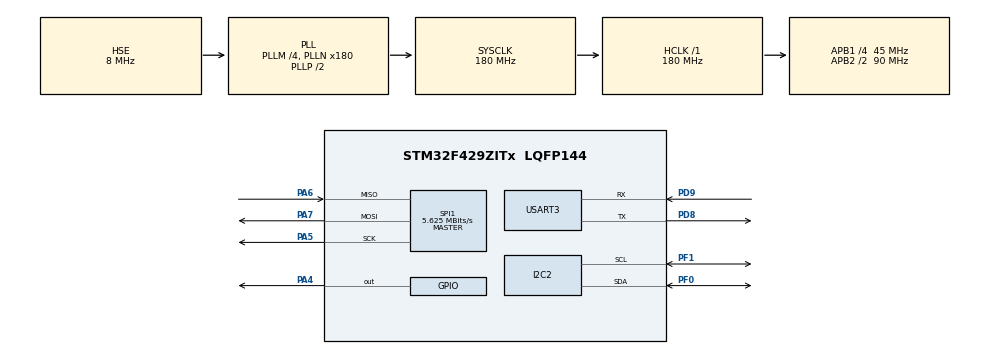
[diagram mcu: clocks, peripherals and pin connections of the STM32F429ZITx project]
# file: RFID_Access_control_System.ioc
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Mcu.Family=STM32F4
Mcu.Name=STM32F429ZITx
Mcu.Package=LQFP144
NVIC.PriorityGroup=NVIC_PRIORITYGROUP_4
NVIC.USART3_IRQn=true\:0\:0\:false\:false\:true\:true
PA13.Mode=Serial_Wire
PA13.Signal=SYS_JTMS-SWDIO
PA14.Mode=Serial_Wire
PA14.Signal=SYS_JTCK-SWCLK
PA4.GPIO_PuPd=GPIO_PULLUP
PA4.GPIO_Speed=GPIO_SPEED_FREQ_VERY_HIGH
PA4.Signal=GPIO_Output
PA5.Mode=Full_Duplex_Master
PA5.Signal=SPI1_SCK
PA6.Mode=Full_Duplex_Master
PA6.Signal=SPI1_MISO
PA7.Mode=Full_Duplex_Master
PA7.Signal=SPI1_MOSI
PD8.Mode=Asynchronous
PD8.Signal=USART3_TX
PD9.Mode=Asynchronous
PD9.Signal=USART3_RX
PF0.Mode=I2C
PF0.Signal=I2C2_SDA
PF1.Mode=I2C
PF1.Signal=I2C2_SCL
PH0/OSC_IN.Mode=HSE-External-Oscillator
PH0/OSC_IN.Signal=RCC_OSC_IN
PH1/OSC_OUT.Mode=HSE-External-Oscillator
PH1/OSC_OUT.Signal=RCC_OSC_OUT
ProjectManager.HeapSize=0x200
ProjectManager.StackSize=0x400
ProjectManager.TargetToolchain=TrueSTUDIO
RCC.48MHZClocksFreq_Value=90000000
RCC.AHBFreq_Value=180000000
RCC.APB1CLKDivider=RCC_HCLK_DIV4
RCC.APB1Freq_Value=45000000
RCC.APB1TimFreq_Value=90000000
RCC.APB2CLKDivider=RCC_HCLK_DIV2
RCC.APB2Freq_Value=90000000
RCC.APB2TimFreq_Value=180000000
RCC.CortexFreq_Value=180000000
RCC.HCLKFreq_Value=180000000
RCC.HSE_VALUE=8000000
RCC.HSI_VALUE=16000000
RCC.LSE_VALUE=32768
RCC.PLLM=4
RCC.PLLN=180
RCC.PLLSourceVirtual=RCC_PLLSOURCE_HSE
RCC.SYSCLKFreq_VALUE=180000000
RCC.SYSCLKSource=RCC_SYSCLKSOURCE_PLLCLK
RCC.VCOOutputFreq_Value=360000000
SPI1.BaudRatePrescaler=SPI_BAUDRATEPRESCALER_16
SPI1.CalculateBaudRate=5.625 MBits/s
SPI1.Direction=SPI_DIRECTION_2LINES
SPI1.Mode=SPI_MODE_MASTER
SPI1.VirtualType=VM_MASTER
USART3.VirtualMode=VM_ASYNC
board=custom

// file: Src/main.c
/**
  ******************************************************************************
  * @file           : main.c
  * @brief          : Main program body
  ******************************************************************************
  ** This notice applies to any and all portions of this file
  * that are not between comment pairs USER CODE BEGIN and
  * USER CODE END. Other portions of this file, whether
  * inserted by the user or by software development tools
  * are owned by their respective copyright owners.
  *
  * COPYRIGHT(c) 2019 STMicroelectronics
  *
  * Redistribution and use in source and binary forms, with or without modification,
  * are permitted provided that the following conditions are met:
  *   1. Redistributions of source code must retain the above copyright notice,
  *      this list of conditions and the following disclaimer.
  *   2. Redistributions in binary form must reproduce the above copyright notice,
  *      this list of conditions and the following disclaimer in the documentation
  *      and/or other materials provided with the distribution.
  *   3. Neither the name of STMicroelectronics nor the names of its contributors
  *      may be used to endorse or promote products derived from this software
  *      without specific prior written permission.
  *
  * THIS SOFTWARE IS PROVIDED BY THE COPYRIGHT HOLDERS AND CONTRIBUTORS "AS IS"
  * AND ANY EXPRESS OR IMPLIED WARRANTIES, INCLUDING, BUT NOT LIMITED TO, THE
  * IMPLIED WARRANTIES OF MERCHANTABILITY AND FITNESS FOR A PARTICULAR PURPOSE ARE
  * DISCLAIMED. IN NO EVENT SHALL THE COPYRIGHT HOLDER OR CONTRIBUTORS BE LIABLE
  * FOR ANY DIRECT, INDIRECT, INCIDENTAL, SPECIAL, EXEMPLARY, OR CONSEQUENTIAL
  * DAMAGES (INCLUDING, BUT NOT LIMITED TO, PROCUREMENT OF SUBSTITUTE GOODS OR
  * SERVICES; LOSS OF USE, DATA, OR PROFITS; OR BUSINESS INTERRUPTION) HOWEVER
  * CAUSED AND ON ANY THEORY OF LIABILITY, WHETHER IN CONTRACT, STRICT LIABILITY,
  * OR TORT (INCLUDING NEGLIGENCE OR OTHERWISE) ARISING IN ANY WAY OUT OF THE USE
  * OF THIS SOFTWARE, EVEN IF ADVISED OF THE POSSIBILITY OF SUCH DAMAGE.
  *
  ******************************************************************************
  */
#include "main.h"
#include "stm32f4xx_hal.h"

/* USER CODE BEGIN Includes */
#include <stdio.h>
#include "rc522.h"
#include "I2C_LCD.h"
/* USER CODE END Includes */

I2C_HandleTypeDef hi2c2;

SPI_HandleTypeDef hspi1;

UART_HandleTypeDef huart3;

/* USER CODE BEGIN PV */
/* Private variables ---------------------------------------------------------*/
unsigned char card_id[5];
unsigned char card_id_buf[20];
unsigned char card_id_prev[20];
/* USER CODE END PV */

void SystemClock_Config(void);
static void MX_GPIO_Init(void);
static void MX_USART3_UART_Init(void);
static void MX_SPI1_Init(void);
static void MX_I2C2_Init(void);

/* USER CODE BEGIN PFP */
/* Private function prototypes -----------------------------------------------*/
uint8_t MFRC522_Check(uint8_t* id);
uint8_t MFRC522_Compare(uint8_t* CardID, uint8_t* CompareID);
void MFRC522_WriteRegister(uint8_t addr, uint8_t val);
uint8_t MFRC522_ReadRegister(uint8_t addr);
void MFRC522_SetBitMask(uint8_t reg, uint8_t mask);
void MFRC522_ClearBitMask(uint8_t reg, uint8_t mask);
uint8_t MFRC522_Request(uint8_t reqMode, uint8_t* TagType);
uint8_t MFRC522_ToCard(uint8_t command, uint8_t* sendData, uint8_t sendLen, uint8_t* backData, uint16_t* backLen);
uint8_t MFRC522_Anticoll(uint8_t* serNum);
void MFRC522_CalulateCRC(uint8_t* pIndata, uint8_t len, uint8_t* pOutData);
uint8_t MFRC522_SelectTag(uint8_t* serNum);
uint8_t MFRC522_Auth(uint8_t authMode, uint8_t BlockAddr, uint8_t* Sectorkey, uint8_t* serNum);
uint8_t MFRC522_Read(uint8_t blockAddr, uint8_t* recvData);
uint8_t MFRC522_Write(uint8_t blockAddr, uint8_t* writeData);
void MFRC522_Init(void);
void MFRC522_Reset(void);
void MFRC522_AntennaOn(void);
void MFRC522_AntennaOff(void);
void MFRC522_Halt(void);
/* USER CODE END PFP */

int main(void)
{

  /* MCU Configuration----------------------------------------------------------*/

  /* Reset of all peripherals, Initializes the Flash interface and the Systick. */
  HAL_Init();

  /* Configure the system clock */
  SystemClock_Config();

  /* Initialize all configured peripherals */
  MX_GPIO_Init();
  MX_USART3_UART_Init();
  MX_SPI1_Init();
  MX_I2C2_Init();
  /* USER CODE BEGIN 2 */
  MFRC522_Init();
  I2C_LCD_init();
  /* USER CODE END 2 */

  /* Infinite loop */
  /* USER CODE BEGIN WHILE */
  int count = 0;

  I2C_LCD_write_string(" -waiting RFID-");
  printf("Wating for RFID card!\n");
  HAL_Delay(500);

  while (1)
  {
	  if(MFRC522_Check(card_id) == MI_OK){
		  sprintf(card_id_buf, "%02x-%02x-%02x-%02x-%02x", card_id[0], card_id[1], card_id[2], card_id[3], card_id[4]);

		  if(strcmp(card_id_buf, card_id_prev) != 0){
			  printf("%s\n", card_id_buf);
			  I2C_LCD_write_string_XY(1, 0, card_id_buf);
			  strcpy(card_id_prev, card_id_buf);
			  HAL_Delay(10);
		  }
	  }
  /* USER CODE END WHILE */

  }

}

void SystemClock_Config(void)
{

  RCC_OscInitTypeDef RCC_OscInitStruct;
  RCC_ClkInitTypeDef RCC_ClkInitStruct;

    /**Configure the main internal regulator output voltage
    */
  __HAL_RCC_PWR_CLK_ENABLE();

  __HAL_PWR_VOLTAGESCALING_CONFIG(PWR_REGULATOR_VOLTAGE_SCALE1);

    /**Initializes the CPU, AHB and APB busses clocks
    */
  RCC_OscInitStruct.OscillatorType = RCC_OSCILLATORTYPE_HSE;
  RCC_OscInitStruct.HSEState = RCC_HSE_ON;
  RCC_OscInitStruct.PLL.PLLState = RCC_PLL_ON;
  RCC_OscInitStruct.PLL.PLLSource = RCC_PLLSOURCE_HSE;
  RCC_OscInitStruct.PLL.PLLM = 4;
  RCC_OscInitStruct.PLL.PLLN = 180;
  RCC_OscInitStruct.PLL.PLLP = RCC_PLLP_DIV2;
  RCC_OscInitStruct.PLL.PLLQ = 4;
  if (HAL_RCC_OscConfig(&RCC_OscInitStruct) != HAL_OK)
  {
    _Error_Handler(__FILE__, __LINE__);
  }

    /**Activate the Over-Drive mode
    */
  if (HAL_PWREx_EnableOverDrive() != HAL_OK)
  {
    _Error_Handler(__FILE__, __LINE__);
  }

    /**Initializes the CPU, AHB and APB busses clocks
    */
  RCC_ClkInitStruct.ClockType = RCC_CLOCKTYPE_HCLK|RCC_CLOCKTYPE_SYSCLK
                              |RCC_CLOCKTYPE_PCLK1|RCC_CLOCKTYPE_PCLK2;
  RCC_ClkInitStruct.SYSCLKSource = RCC_SYSCLKSOURCE_PLLCLK;
  RCC_ClkInitStruct.AHBCLKDivider = RCC_SYSCLK_DIV1;
  RCC_ClkInitStruct.APB1CLKDivider = RCC_HCLK_DIV4;
  RCC_ClkInitStruct.APB2CLKDivider = RCC_HCLK_DIV2;

  if (HAL_RCC_ClockConfig(&RCC_ClkInitStruct, FLASH_LATENCY_5) != HAL_OK)
  {
    _Error_Handler(__FILE__, __LINE__);
  }

    /**Configure the Systick interrupt time
    */
  HAL_SYSTICK_Config(HAL_RCC_GetHCLKFreq()/1000);

    /**Configure the Systick
    */
  HAL_SYSTICK_CLKSourceConfig(SYSTICK_CLKSOURCE_HCLK);

  /* SysTick_IRQn interrupt configuration */
  HAL_NVIC_SetPriority(SysTick_IRQn, 0, 0);
}

/* I2C2 init function */
static void MX_I2C2_Init(void)
{

  hi2c2.Instance = I2C2;
  hi2c2.Init.ClockSpeed = 100000;
  hi2c2.Init.DutyCycle = I2C_DUTYCYCLE_2;
  hi2c2.Init.OwnAddress1 = 0;
  hi2c2.Init.AddressingMode = I2C_ADDRESSINGMODE_7BIT;
  hi2c2.Init.DualAddressMode = I2C_DUALADDRESS_DISABLE;
  hi2c2.Init.OwnAddress2 = 0;
  hi2c2.Init.GeneralCallMode = I2C_GENERALCALL_DISABLE;
  hi2c2.Init.NoStretchMode = I2C_NOSTRETCH_DISABLE;
  if (HAL_I2C_Init(&hi2c2) != HAL_OK)
  {
    _Error_Handler(__FILE__, __LINE__);
  }

}

/* SPI1 init function */
static void MX_SPI1_Init(void)
{

  /* SPI1 parameter configuration*/
  hspi1.Instance = SPI1;
  hspi1.Init.Mode = SPI_MODE_MASTER;
  hspi1.Init.Direction = SPI_DIRECTION_2LINES;
  hspi1.Init.DataSize = SPI_DATASIZE_8BIT;
  hspi1.Init.CLKPolarity = SPI_POLARITY_LOW;
  hspi1.Init.CLKPhase = SPI_PHASE_1EDGE;
  hspi1.Init.NSS = SPI_NSS_SOFT;
  hspi1.Init.BaudRatePrescaler = SPI_BAUDRATEPRESCALER_16;
  hspi1.Init.FirstBit = SPI_FIRSTBIT_MSB;
  hspi1.Init.TIMode = SPI_TIMODE_DISABLE;
  hspi1.Init.CRCCalculation = SPI_CRCCALCULATION_DISABLE;
  hspi1.Init.CRCPolynomial = 10;
  if (HAL_SPI_Init(&hspi1) != HAL_OK)
  {
    _Error_Handler(__FILE__, __LINE__);
  }

}

/* USART3 init function */
static void MX_USART3_UART_Init(void)
{

  huart3.Instance = USART3;
  huart3.Init.BaudRate = 115200;
  huart3.Init.WordLength = UART_WORDLENGTH_8B;
  huart3.Init.StopBits = UART_STOPBITS_1;
  huart3.Init.Parity = UART_PARITY_NONE;
  huart3.Init.Mode = UART_MODE_TX_RX;
  huart3.Init.HwFlowCtl = UART_HWCONTROL_NONE;
  huart3.Init.OverSampling = UART_OVERSAMPLING_16;
  if (HAL_UART_Init(&huart3) != HAL_OK)
  {
    _Error_Handler(__FILE__, __LINE__);
  }

}

/** Configure pins as
        * Analog
        * Input
        * Output
        * EVENT_OUT
        * EXTI
*/
static void MX_GPIO_Init(void)
{

  GPIO_InitTypeDef GPIO_InitStruct;

  /* GPIO Ports Clock Enable */
  __HAL_RCC_GPIOF_CLK_ENABLE();
  __HAL_RCC_GPIOH_CLK_ENABLE();
  __HAL_RCC_GPIOA_CLK_ENABLE();
  __HAL_RCC_GPIOD_CLK_ENABLE();

  /*Configure GPIO pin Output Level */
  HAL_GPIO_WritePin(GPIOA, GPIO_PIN_4, GPIO_PIN_RESET);

  /*Configure GPIO pin : PA4 */
  GPIO_InitStruct.Pin = GPIO_PIN_4;
  GPIO_InitStruct.Mode = GPIO_MODE_OUTPUT_PP;
  GPIO_InitStruct.Pull = GPIO_PULLUP;
  GPIO_InitStruct.Speed = GPIO_SPEED_FREQ_VERY_HIGH;
  HAL_GPIO_Init(GPIOA, &GPIO_InitStruct);

}

void _Error_Handler(char *file, int line)
{
  while(1)
  {
  }
}

/************************ (C) COPYRIGHT STMicroelectronics *****END OF FILE****/
